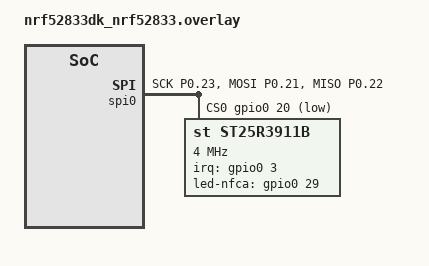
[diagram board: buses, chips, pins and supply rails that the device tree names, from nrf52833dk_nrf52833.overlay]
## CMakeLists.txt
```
#
# Copyright (c) 2018 Nordic Semiconductor ASA
#
# SPDX-License-Identifier: LicenseRef-Nordic-5-Clause
#

cmake_minimum_required(VERSION 3.20.0)

find_package(Zephyr REQUIRED HINTS $ENV{ZEPHYR_BASE})
project(NONE)

FILE(GLOB app_sources src/*.c)
# NORDIC SDK APP START
target_sources(app  PRIVATE ${app_sources})
# NORDIC SDK APP END

# Include configuration headers
zephyr_library_include_directories(configuration)
```

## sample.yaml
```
sample:
  name: NFC tag reader sample
tests:
  sample.nfc.tag_reader:
    sysbuild: true
    build_only: true
    integration_platforms:
      - nrf52840dk/nrf52840
      - nrf5340dk/nrf5340/cpuapp
    platform_allow:
      - nrf52840dk/nrf52840
      - nrf52dk/nrf52832
      - nrf5340dk/nrf5340/cpuapp
    tags:
      - ci_build
      - sysbuild
      - ci_samples_nfc
```

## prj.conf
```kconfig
#
# Copyright (c) 2019 Nordic Semiconductor ASA
#
# SPDX-License-Identifier: LicenseRef-Nordic-5-Clause
#
CONFIG_NCS_SAMPLES_DEFAULTS=y

CONFIG_SPI=y

CONFIG_ST25R3911B_LIB=y

CONFIG_NFC_NDEF=y
CONFIG_NFC_NDEF_RECORD=y
CONFIG_NFC_NDEF_MSG=y
CONFIG_NFC_NDEF_PARSER=y
CONFIG_NFC_NDEF_LE_OOB_REC_PARSER=y
CONFIG_NFC_T2T_PARSER=y
CONFIG_NFC_T4T_HL_PROCEDURE=y
CONFIG_NFC_NDEF_CH_PARSER=y

CONFIG_POLL=y

CONFIG_MAIN_STACK_SIZE=2048
```

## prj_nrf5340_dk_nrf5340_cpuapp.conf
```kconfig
#
# Copyright (c) 2019 Nordic Semiconductor ASA
#
# SPDX-License-Identifier: LicenseRef-BSD-5-Clause-Nordic
#
CONFIG_NCS_SAMPLES_DEFAULTS=y

CONFIG_SPI_1=y
CONFIG_SPI=y
CONFIG_SPI_1_NRF_SPIM=y

CONFIG_ST25R3911B_LIB=y

CONFIG_NFC_NDEF=y
CONFIG_NFC_NDEF_RECORD=y
CONFIG_NFC_NDEF_MSG=y
CONFIG_NFC_NDEF_PARSER=y
CONFIG_NFC_T2T_PARSER=y
CONFIG_NFC_T4T_HL_PROCEDURE=y

CONFIG_POLL=y

CONFIG_MAIN_STACK_SIZE=2048
```

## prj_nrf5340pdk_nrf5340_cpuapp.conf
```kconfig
#
# Copyright (c) 2019 Nordic Semiconductor ASA
#
# SPDX-License-Identifier: LicenseRef-BSD-5-Clause-Nordic
#
CONFIG_NCS_SAMPLES_DEFAULTS=y

CONFIG_SPI_1=y
CONFIG_SPI=y
CONFIG_SPI_1_NRF_SPIM=y

CONFIG_ST25R3911B_LIB=y

CONFIG_NFC_NDEF=y
CONFIG_NFC_NDEF_RECORD=y
CONFIG_NFC_NDEF_MSG=y
CONFIG_NFC_NDEF_PARSER=y
CONFIG_NFC_NDEF_LE_OOB_REC_PARSER=y
CONFIG_NFC_T2T_PARSER=y
CONFIG_NFC_T4T_HL_PROCEDURE=y

CONFIG_POLL=y

CONFIG_MAIN_STACK_SIZE=2048
```

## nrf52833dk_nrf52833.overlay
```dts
&spi0 {
	compatible = "nordic,nrf-spi";
	status = "okay";
	cs-gpios = <&gpio0 20 GPIO_ACTIVE_LOW>;

	pinctrl-0 = <&spi0_default_alt>;
	pinctrl-1 = <&spi0_sleep_alt>;
	pinctrl-names = "default", "sleep";
	st25r3911b@0 {
		compatible = "st,st25r3911b";
		reg = <0>;
		spi-max-frequency = <4000000>;
		irq-gpios = <&gpio0 3 GPIO_ACTIVE_HIGH>;
		led-nfca-gpios = <&gpio0 29 GPIO_ACTIVE_HIGH>;
	};
};

&spi1 {
	status = "disabled";
};

&spi2 {
	status = "disabled";
};

&spi3 {
	status = "disabled";
};

&pinctrl {
	spi0_default_alt: spi0_default_alt {
		group1 {
			psels = <NRF_PSEL(SPIM_SCK, 0, 23)>,
				<NRF_PSEL(SPIM_MOSI, 0, 21)>,
				<NRF_PSEL(SPIM_MISO, 0, 22)>;
		};
	};

	spi0_sleep_alt: spi0_sleep_alt {
		group1 {
			psels = <NRF_PSEL(SPIM_SCK, 0, 23)>,
				<NRF_PSEL(SPIM_MOSI, 0, 21)>,
				<NRF_PSEL(SPIM_MISO, 0, 22)>;
			low-power-enable;
		};
	};
};
```

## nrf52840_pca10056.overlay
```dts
&spi0 {
            status = "okay";
            sck-pin = <47>;
            mosi-pin = <45>;
            miso-pin = <46>;
            cs-gpios = <&gpio1 12 0>;
};
```

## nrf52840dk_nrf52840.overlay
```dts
&spi0 {
	compatible = "nordic,nrf-spi";
	status = "okay";
	cs-gpios = <&gpio1 12 GPIO_ACTIVE_LOW>;

	pinctrl-0 = <&spi0_default_alt>;
	pinctrl-1 = <&spi0_sleep_alt>;
	pinctrl-names = "default", "sleep";
	st25r3911b@0 {
		label = "ST25R3911B";
		compatible = "st,st25r3911b";
		reg = <0>;
		spi-max-frequency = <4000000>;
		irq-gpios = <&gpio0 3 GPIO_ACTIVE_HIGH>;
		led-nfca-gpios = <&gpio0 29 GPIO_ACTIVE_HIGH>;
	};
};

&spi1 {
	status = "disabled";
};

&spi2 {
	status = "disabled";
};

&spi3 {
	status = "disabled";
};

&pinctrl {
	spi0_default_alt: spi0_default_alt {
		group1 {
			psels = <NRF_PSEL(SPIM_SCK, 1, 15)>,
				<NRF_PSEL(SPIM_MOSI, 1, 13)>,
				<NRF_PSEL(SPIM_MISO, 1, 14)>;
		};
	};

	spi0_sleep_alt: spi0_sleep_alt {
		group1 {
			psels = <NRF_PSEL(SPIM_SCK, 1, 15)>,
				<NRF_PSEL(SPIM_MOSI, 1, 13)>,
				<NRF_PSEL(SPIM_MISO, 1, 14)>;
			low-power-enable;
		};
	};
};
```

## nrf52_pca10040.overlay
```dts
&spi0 {
            status = "ok";
            sck-pin = <25>;
            mosi-pin = <23>;
            miso-pin = <24>;
            cs-gpios = <&gpio0 22 0>;
};
```

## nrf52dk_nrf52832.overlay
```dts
&spi0 {
	compatible = "nordic,nrf-spi";
	status = "okay";
	cs-gpios = <&gpio0 22 GPIO_ACTIVE_LOW>;

	pinctrl-0 = <&spi0_default_alt>;
	pinctrl-1 = <&spi0_sleep_alt>;
	pinctrl-names = "default", "sleep";

	st25r3911b@0 {
		compatible = "st,st25r3911b";
		reg = <0>;
		spi-max-frequency = <4000000>;
		irq-gpios = <&gpio0 3 GPIO_ACTIVE_HIGH>;
		led-nfca-gpios = <&gpio0 29 GPIO_ACTIVE_HIGH>;
	};
};

&spi1 {
	status = "disabled";
};

&spi2 {
	status = "disabled";
};

&pinctrl {
	spi0_default_alt: spi0_default_alt {
		group1 {
			psels = <NRF_PSEL(SPIM_SCK, 0, 25)>,
				<NRF_PSEL(SPIM_MOSI, 0, 23)>,
				<NRF_PSEL(SPIM_MISO, 0, 24)>;
		};
	};

	spi0_sleep_alt: spi0_sleep_alt {
		group1 {
			psels = <NRF_PSEL(SPIM_SCK, 0, 25)>,
				<NRF_PSEL(SPIM_MOSI, 0, 23)>,
				<NRF_PSEL(SPIM_MISO, 0, 24)>;
			low-power-enable;
		};
	};
};
```

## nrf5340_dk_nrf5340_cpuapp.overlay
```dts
&spi1 {
            compatible = "nordic,nrf-spim";
            status = "okay";
            sck-pin = <47>;
            mosi-pin = <45>;
            miso-pin = <46>;
            cs-gpios = <&gpio1 12 0>;
};
```

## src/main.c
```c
/* main.c - Application main entry point */

/*
 * Copyright (c) 2019 Nordic Semiconductor ASA
 *
 * SPDX-License-Identifier: LicenseRef-Nordic-5-Clause
 */

#include <zephyr/types.h>
#include <stddef.h>
#include <stdbool.h>
#include <string.h>
#include <zephyr/kernel.h>
#include <zephyr/sys/printk.h>
#include <st25r3911b_nfca.h>
#include <nfc/ndef/msg_parser.h>
#include <nfc/ndef/le_oob_rec_parser.h>
#include <nfc/t2t/parser.h>
#include <nfc/t4t/ndef_file.h>
#include <nfc/t4t/isodep.h>
#include <nfc/t4t/hl_procedure.h>
#include <nfc/ndef/ch_rec_parser.h>
#include <zephyr/sys/byteorder.h>

#define NFCA_BD 128
#define BITS_IN_BYTE 8
#define MAX_TLV_BLOCKS 10
#define MAX_NDEF_RECORDS 10
#define NFCA_T2T_BUFFER_SIZE 1024
#define NFCA_LAST_BIT_MASK 0x80
#define NFCA_FDT_ALIGN_84 84
#define NFCA_FDT_ALIGN_20 20

#define NFC_T2T_READ_CMD 0x30
#define NFC_T2T_READ_CMD_LEN 0x02

#define NFC_T4T_ISODEP_FSD 256
#define NFC_T4T_ISODEP_RX_DATA_MAX_SIZE 1024
#define NFC_T4T_APDU_MAX_SIZE 1024

#define NFC_NDEF_REC_PARSER_BUFF_SIZE 128

#define NFC_TX_DATA_LEN NFC_T4T_ISODEP_FSD
#define NFC_RX_DATA_LEN NFC_T4T_ISODEP_FSD

#define T2T_MAX_DATA_EXCHANGE 16
#define TAG_TYPE_2_DATA_AREA_MULTIPLICATOR 8
#define TAG_TYPE_2_DATA_AREA_SIZE_OFFSET (NFC_T2T_CC_BLOCK_OFFSET + 2)
#define TAG_TYPE_2_BLOCKS_PER_EXCHANGE (T2T_MAX_DATA_EXCHANGE / NFC_T2T_BLOCK_SIZE)

#define TRANSMIT_DELAY 3000
#define ALL_REQ_DELAY 2000

static uint8_t tx_data[NFC_TX_DATA_LEN];
static uint8_t rx_data[NFC_RX_DATA_LEN];

static struct k_poll_event events[ST25R3911B_NFCA_EVENT_CNT];
static struct k_work_delayable transmit_work;

NFC_T4T_CC_DESC_DEF(t4t_cc, MAX_TLV_BLOCKS);

static struct st25r3911b_nfca_buf tx_buf = {
	.data = tx_data,
	.len = sizeof(tx_data)
};

static const struct st25r3911b_nfca_buf rx_buf = {
	.data = rx_data,
	.len = sizeof(rx_data)
};

enum nfc_tag_type {
	NFC_TAG_TYPE_UNSUPPORTED = 0,
	NFC_TAG_TYPE_T2T,
	NFC_TAG_TYPE_T4T
};

enum t2t_state {
	T2T_IDLE,
	T2T_HEADER_READ,
	T2T_DATA_READ
};

struct t2t_tag {
	enum t2t_state state;
	uint16_t data_bytes;
	uint8_t data[NFCA_T2T_BUFFER_SIZE];
};

struct t4t_tag {
	uint8_t data[NFC_T4T_ISODEP_RX_DATA_MAX_SIZE];
	uint8_t ndef[MAX_TLV_BLOCKS][NFC_T4T_APDU_MAX_SIZE];
	uint8_t tlv_index;
};

static enum nfc_tag_type tag_type;
static struct t2t_tag t2t;
static struct t4t_tag t4t;

static void nfc_tag_detect(bool all_request)
{
	int err;
	enum st25r3911b_nfca_detect_cmd cmd;

	tag_type = NFC_TAG_TYPE_UNSUPPORTED;

	cmd = all_request ? ST25R3911B_NFCA_DETECT_CMD_ALL_REQ :
		ST25R3911B_NFCA_DETECT_CMD_SENS_REQ;

	err = st25r3911b_nfca_tag_detect(cmd);
	if (err) {
		printk("Tag detect error: %d.\n", err);
	}
}

static int ftd_calculate(uint8_t *data, size_t len)
{
	uint8_t ftd_align;

	ftd_align = (data[len - 1] & NFCA_LAST_BIT_MASK) ?
		NFCA_FDT_ALIGN_84 : NFCA_FDT_ALIGN_20;

	return len * NFCA_BD * BITS_IN_BYTE + ftd_align;
}

static int nfc_t2t_read_block_cmd_make(uint8_t *tx_data,
				       size_t tx_data_size,
				       uint8_t block_num)
{
	if (!tx_data) {
		return -EINVAL;
	}

	if (tx_data_size < NFC_T2T_READ_CMD_LEN) {
		return -ENOMEM;
	}

	tx_data[0] = NFC_T2T_READ_CMD;
	tx_data[1] = block_num;

	return 0;
}

static int t2t_header_read(void)
{
	int err;
	int ftd;

	err = nfc_t2t_read_block_cmd_make(tx_data, sizeof(tx_data), 0);
	if (err) {
		return err;
	}

	tx_buf.data = tx_data;
	tx_buf.len = NFC_T2T_READ_CMD_LEN;

	ftd = ftd_calculate(tx_data, NFC_T2T_READ_CMD_LEN);

	t2t.state = T2T_HEADER_READ;

	err = st25r3911b_nfca_transfer_with_crc(&tx_buf, &rx_buf, ftd);

	return err;
}

/** .. include_startingpoint_le_oob_rec_parser_rst */
static void ndef_le_oob_rec_analyze(const struct nfc_ndef_record_desc *le_oob_rec_desc)
{
	int err;
	uint8_t desc_buf[NFC_NDEF_REC_PARSER_BUFF_SIZE];
	uint32_t desc_buf_len = sizeof(desc_buf);

	err = nfc_ndef_le_oob_rec_parse(le_oob_rec_desc, desc_buf,
					&desc_buf_len);
	if (err) {
		printk("Error during NDEF LE OOB Record parsing, err: %d.\n",
			err);
	} else {
		nfc_ndef_le_oob_rec_printout(
			(struct nfc_ndef_le_oob_rec_payload_desc *) desc_buf);
	}
}
/** .. include_endpoint_le_oob_rec_parser_rst */

/** .. include_startingpoint_ch_rec_parser_rst */
static void ndef_ch_rec_analyze(const struct nfc_ndef_record_desc *ndef_rec_desc)
{
	int err;
	uint8_t hs_buf[NFC_NDEF_REC_PARSER_BUFF_SIZE];
	uint32_t hs_buf_len = sizeof(hs_buf);
	uint8_t ac_buf[NFC_NDEF_REC_PARSER_BUFF_SIZE];
	uint32_t ac_buf_len = sizeof(ac_buf);
	struct nfc_ndef_ch_rec *ch_rec;
	struct nfc_ndef_ch_ac_rec *ac_rec;

	err = nfc_ndef_ch_rec_parse(ndef_rec_desc, hs_buf, &hs_buf_len);
	if (err) {
		printk("Error during parsing Handover Select record: %d\n",
		       err);
		return;
	}

	ch_rec = (struct nfc_ndef_ch_rec *)hs_buf;

	printk("Handover Select Record payload");

	nfc_ndef_ch_rec_printout(ch_rec);

	for (size_t i = 0; i < ch_rec->local_records->record_count; i++) {
		if (nfc_ndef_ch_ac_rec_check(ch_rec->local_records->record[i])) {
			err = nfc_ndef_ch_ac_rec_parse(ch_rec->local_records->record[i],
						       ac_buf, &ac_buf_len);
			if (err) {
				printk("Error during parsing AC record: %d\n",
				       err);
				return;
			}

			ac_rec = (struct nfc_ndef_ch_ac_rec *)ac_buf;

			nfc_ndef_ac_rec_printout(ac_rec);
		}
	}
}
/** .. include_endpoint_ch_rec_parser_rst */

static void ndef_rec_analyze(const struct nfc_ndef_record_desc *ndef_rec_desc)
{
	/* Match NDEF Record with specific NDEF Record parser. */
	if (nfc_ndef_ch_rec_check(ndef_rec_desc,
				  NFC_NDEF_CH_REC_TYPE_HANDOVER_SELECT)) {
		ndef_ch_rec_analyze(ndef_rec_desc);
	} else if (nfc_ndef_le_oob_rec_check(ndef_rec_desc)) {
		ndef_le_oob_rec_analyze(ndef_rec_desc);
	} else {
		/* Do nothing */
	}
}

static void ndef_data_analyze(const uint8_t *ndef_msg_buff, size_t nfc_data_len)
{
	int  err;
	struct nfc_ndef_msg_desc *ndef_msg_desc;
	uint8_t desc_buf[NFC_NDEF_PARSER_REQUIRED_MEM(MAX_NDEF_RECORDS)];
	size_t desc_buf_len = sizeof(desc_buf);

	err = nfc_ndef_msg_parse(desc_buf,
				 &desc_buf_len,
				 ndef_msg_buff,
				 &nfc_data_len);
	if (err) {
		printk("Error during parsing a NDEF message, err: %d.\n", err);
		return;
	}

	ndef_msg_desc = (struct nfc_ndef_msg_desc *) desc_buf;

	nfc_ndef_msg_printout(ndef_msg_desc);

	for (size_t i = 0; i < ndef_msg_desc->record_count; i++) {
		ndef_rec_analyze(ndef_msg_desc->record[i]);
	}
}

static void t2t_data_read_complete(uint8_t *data)
{
	int err;

	if (!data) {
		printk("No T2T data read.\n");
		return;
	}

	/* Declaration of Type 2 Tag structure. */
	NFC_T2T_DESC_DEF(tag_data, MAX_TLV_BLOCKS);
	struct nfc_t2t *t2t = &NFC_T2T_DESC(tag_data);

	err = nfc_t2t_parse(t2t, data);
	if (err) {
		printk("Not enought memory to read whole tag. Printing what have been read.\n");
	}

	nfc_t2t_printout(t2t);

	struct nfc_t2t_tlv_block *tlv_block = t2t->tlv_block_array;

	for (size_t i = 0; i < t2t->tlv_count; i++) {
		if (tlv_block->tag == NFC_T2T_TLV_NDEF_MESSAGE) {
			ndef_data_analyze(tlv_block->value, tlv_block->length);
			tlv_block++;
		}
	}

	st25r3911b_nfca_tag_sleep();

	k_work_reschedule(&transmit_work, K_MSEC(TRANSMIT_DELAY));
}

static int t2t_on_data_read(const uint8_t *data, size_t data_len,
			    void (*t2t_read_complete)(uint8_t *))
{
	int err;
	int ftd;
	uint8_t block_to_read;
	uint16_t offset = 0;
	static uint8_t block_num;

	block_to_read = t2t.data_bytes / NFC_T2T_BLOCK_SIZE;
	offset = block_num * NFC_T2T_BLOCK_SIZE;

	memcpy(t2t.data + offset, data, data_len);

	block_num += TAG_TYPE_2_BLOCKS_PER_EXCHANGE;

	if (block_num > block_to_read) {
		block_num = 0;
		t2t.state = T2T_IDLE;

		if (t2t_read_complete) {
			t2t_read_complete(t2t.data);
		}

		return 0;
	}

	err = nfc_t2t_read_block_cmd_make(tx_data, sizeof(tx_data), block_num);
	if (err) {
		return err;
	}

	tx_buf.data = tx_data;
	tx_buf.len = NFC_T2T_READ_CMD_LEN;

	ftd = ftd_calculate(tx_data, NFC_T2T_READ_CMD_LEN);

	err = st25r3911b_nfca_transfer_with_crc(&tx_buf, &rx_buf, ftd);

	return err;
}

static int on_t2t_transfer_complete(const uint8_t *data, size_t len)
{
	switch (t2t.state) {
	case T2T_HEADER_READ:
		t2t.data_bytes = TAG_TYPE_2_DATA_AREA_MULTIPLICATOR *
				 data[TAG_TYPE_2_DATA_AREA_SIZE_OFFSET];

		if ((t2t.data_bytes + NFC_T2T_FIRST_DATA_BLOCK_OFFSET) > sizeof(t2t.data)) {
			return -ENOMEM;
		}

		t2t.state = T2T_DATA_READ;

		return t2t_on_data_read(data, len, t2t_data_read_complete);

	case T2T_DATA_READ:
		return t2t_on_data_read(data, len, t2t_data_read_complete);

	default:
		return -EFAULT;
	}
}

static void transfer_handler(struct k_work *work)
{
	nfc_tag_detect(false);
}

static void nfc_field_on(void)
{
	printk("NFC field on.\n");

	nfc_tag_detect(false);
}

static void nfc_timeout(bool tag_sleep)
{
	if (tag_sleep) {
		printk("Tag sleep or no detected, sending ALL Request.\n");
	} else if (tag_type == NFC_TAG_TYPE_T4T) {
		nfc_t4t_isodep_on_timeout();

		return;
	} else {
		/* Do nothing. */
	}

	/* Sleep will block processing loop. Accepted as it is short. */
	k_sleep(K_MSEC(ALL_REQ_DELAY));

	nfc_tag_detect(true);
}

static void nfc_field_off(void)
{
	printk("NFC field off.\n");
}

static void tag_detected(const struct st25r3911b_nfca_sens_resp *sens_resp)
{
	printk("Anticollision: 0x%x Platform: 0x%x.\n",
		sens_resp->anticollison,
		sens_resp->platform_info);

	int err = st25r3911b_nfca_anticollision_start();

	if (err) {
		printk("Anticollision error: %d.\n", err);
	}
}

static void anticollision_completed(const struct st25r3911b_nfca_tag_info *tag_info,
				    int err)
{
	if (err) {
		printk("Error during anticollision avoidance.\n");

		nfc_tag_detect(false);

		return;
	}

	printk("Tag info, type: %d.\n", tag_info->type);

	if (tag_info->type == ST25R3911B_NFCA_TAG_TYPE_T2T) {
		printk("Type 2 Tag.\n");

		tag_type = NFC_TAG_TYPE_T2T;

		err = t2t_header_read();
		if (err) {
			printk("Type 2 Tag data read error %d.\n", err);
		}
	} else if (tag_info->type == ST25R3911B_NFCA_TAG_TYPE_T4T) {
		printk("Type 4 Tag.\n");

		tag_type = NFC_TAG_TYPE_T4T;

		/* Send RATS command */
		err = nfc_t4t_isodep_rats_send(NFC_T4T_ISODEP_FSD_256, 0);
		if (err) {
			printk("Type 4 Tag RATS sending error %d.\n", err);
		}
	} else {
		printk("Unsupported tag type.\n");

		tag_type = NFC_TAG_TYPE_UNSUPPORTED;

		nfc_tag_detect(false);

		return;
	}
}

static void transfer_completed(const uint8_t *data, size_t len, int err)
{
	if (err) {
		printk("NFC Transfer error: %d.\n", err);
		return;
	}

	switch (tag_type) {
	case NFC_TAG_TYPE_T2T:
		err = on_t2t_transfer_complete(data, len);
		if (err) {
			printk("NFC-A T2T read error: %d.\n", err);
		}

		break;

	case NFC_TAG_TYPE_T4T:
		err = nfc_t4t_isodep_data_received(data, len, err);
		if (err) {
			printk("NFC-A T4T read error: %d.\n", err);
		}

		break;

	default:
		break;
	}
}

static void tag_sleep(void)
{
	printk("Tag entered the Sleep state.\n");
}

static const struct st25r3911b_nfca_cb cb = {
	.field_on = nfc_field_on,
	.field_off = nfc_field_off,
	.tag_detected = tag_detected,
	.anticollision_completed = anticollision_completed,
	.rx_timeout = nfc_timeout,
	.transfer_completed = transfer_completed,
	.tag_sleep = tag_sleep
};

static void t4t_isodep_selected(const struct nfc_t4t_isodep_tag *t4t_tag)
{
	int err;

	printk("NFC T4T selected.\n");

	if ((t4t_tag->lp_divisor != 0) &&
	    (t4t_tag->lp_divisor != t4t_tag->pl_divisor)) {
		printk("Unsupported bitrate divisor by Reader/Writer.\n");
	}

	err = nfc_t4t_hl_procedure_ndef_tag_app_select();
	if (err) {
		printk("NFC T4T app select err %d.\n", err);
		return;
	}
}

static void t4t_isodep_error(int err)
{
	printk("ISO-DEP Protocol error %d.\n", err);

	nfc_tag_detect(false);
}

static void t4t_isodep_data_send(uint8_t *data, size_t data_len, uint32_t ftd)
{
	int err;

	tx_buf.data = data;
	tx_buf.len = data_len;

	err = st25r3911b_nfca_transfer_with_crc(&tx_buf, &rx_buf, ftd);
	if (err) {
		printk("NFC T4T ISO-DEP transfer error: %d.\n", err);
	}
}

static void t4t_isodep_received(const uint8_t *data, size_t data_len)
{
	int err;

	err = nfc_t4t_hl_procedure_on_data_received(data, data_len);
	if (err) {
		printk("NFC Type 4 Tag HL data received error: %d.\n", err);
	}
}

static void t4t_isodep_deselected(void)
{
	st25r3911b_nfca_tag_sleep();

	k_work_reschedule(&transmit_work, K_MSEC(TRANSMIT_DELAY));
}

static const struct nfc_t4t_isodep_cb t4t_isodep_cb = {
	.selected = t4t_isodep_selected,
	.deselected = t4t_isodep_deselected,
	.error = t4t_isodep_error,
	.ready_to_send = t4t_isodep_data_send,
	.data_received = t4t_isodep_received
};

static void t4t_hl_selected(enum nfc_t4t_hl_procedure_select type)
{
	int err = 0;

	switch (type) {
	case NFC_T4T_HL_PROCEDURE_NDEF_APP_SELECT:
		printk("NFC T4T NDEF Application selected.\n");

		err = nfc_t4t_hl_procedure_cc_select();
		if (err) {
			printk("NFC T4T Capability Container select error: %d.\n",
				err);
		}

		break;

	case NFC_T4T_HL_PROCEDURE_CC_SELECT:
		printk("NFC T4T Capability Container file selected.\n");

		err = nfc_t4t_hl_procedure_cc_read(&NFC_T4T_CC_DESC(t4t_cc));
		if (err) {
			printk("Capability Container read error: %d.\n", err);
		}

		break;

	case NFC_T4T_HL_PROCEDURE_NDEF_FILE_SELECT:
		printk("NFC T4T NDEF file selected.\n");

		err = nfc_t4t_hl_procedure_ndef_read(&NFC_T4T_CC_DESC(t4t_cc),
						     t4t.ndef[t4t.tlv_index], NFC_T4T_APDU_MAX_SIZE);
		if (err) {
			printk("NFC T4T NDEF file read error %d.\n", err);
		}

		break;

	default:
		break;
	}

	if (err) {
		st25r3911b_nfca_tag_sleep();

		k_work_reschedule(&transmit_work, K_MSEC(TRANSMIT_DELAY));
	}
}

static void t4t_hl_cc_read(struct nfc_t4t_cc_file *cc)
{
	printk("NFC T4T Capability Container file read.\n");

	for (size_t i = 0; i < cc->tlv_count; i++) {
		int err;
		struct nfc_t4t_tlv_block *tlv_block = &cc->tlv_block_array[i];

		if ((tlv_block->type == NFC_T4T_TLV_BLOCK_TYPE_NDEF_FILE_CONTROL_TLV) &&
		    (tlv_block->value.read_access == NFC_T4T_TLV_BLOCK_CONTROL_FILE_READ_ACCESS_GRANTED)) {
			err = nfc_t4t_hl_procedure_ndef_file_select(tlv_block->value.file_id);
			if (err) {
				printk("NFC T4T NDEF file select error: %d.\n", err);
			}

			return;
		}
	}

	printk("No NDEF File TLV in Capability Container.");
}

static void t4t_hl_ndef_read(uint16_t file_id, const uint8_t *data, size_t len)
{
	int err;
	struct nfc_t4t_cc_file *cc;
	struct nfc_t4t_tlv_block *tlv_block;

	printk("NDEF file read, id: 0x%x.\n", file_id);

	t4t.tlv_index++;
	cc = &NFC_T4T_CC_DESC(t4t_cc);

	for (size_t i = t4t.tlv_index; i < cc->tlv_count; i++) {
		tlv_block = &cc->tlv_block_array[i];

		if ((tlv_block->type == NFC_T4T_TLV_BLOCK_TYPE_NDEF_FILE_CONTROL_TLV) &&
		    (tlv_block->value.read_access == NFC_T4T_TLV_BLOCK_CONTROL_FILE_READ_ACCESS_GRANTED)) {

			err = nfc_t4t_hl_procedure_ndef_file_select(tlv_block->value.file_id);
			if (err) {
				printk("NFC T4T NDEF file select error: %d.\n", err);
			}

			return;
		}

		t4t.tlv_index++;
	}

	nfc_t4t_cc_file_printout(cc);

	tlv_block = cc->tlv_block_array;
	for (size_t i = 0; i < cc->tlv_count; i++) {
		if ((tlv_block[i].type == NFC_T4T_TLV_BLOCK_TYPE_NDEF_FILE_CONTROL_TLV) ||
		    (tlv_block[i].value.file.content != NULL)) {
			ndef_data_analyze(nfc_t4t_ndef_file_msg_get(tlv_block[i].value.file.content),
					  nfc_t4t_ndef_file_msg_size_get(tlv_block[i].value.file.len));
		}
	}

	t4t.tlv_index = 0;

	err = nfc_t4t_isodep_tag_deselect();
	if (err) {
		printk("NFC T4T Deselect error: %d.\n", err);
	}
}

static const struct nfc_t4t_hl_procedure_cb t4t_hl_procedure_cb = {
	.selected = t4t_hl_selected,
	.cc_read = t4t_hl_cc_read,
	.ndef_read = t4t_hl_ndef_read
};

int main(void)
{
	int err;

	printk("Starting NFC TAG Reader sample\n");
	nfc_t4t_hl_procedure_cb_register(&t4t_hl_procedure_cb);

	k_work_init_delayable(&transmit_work, transfer_handler);

	err = nfc_t4t_isodep_init(tx_data, sizeof(tx_data),
				  t4t.data, sizeof(t4t.data),
				  &t4t_isodep_cb);
	if (err) {
		printk("NFC T4T ISO-DEP Protocol initialization failed err: %d.\n",
		       err);
		return 0;
	}

	err = st25r3911b_nfca_init(events, ARRAY_SIZE(events), &cb);
	if (err) {
		printk("NFCA initialization failed err: %d.\n", err);
		return 0;
	}

	err = st25r3911b_nfca_field_on();
	if (err) {
		printk("Field on error %d.", err);
		return 0;
	}

	while (true) {
		k_poll(events, ARRAY_SIZE(events), K_FOREVER);
		err = st25r3911b_nfca_process();
		if (err) {
			printk("NFC-A process failed, err: %d.\n", err);
			return 0;
		}
	}
}
```
